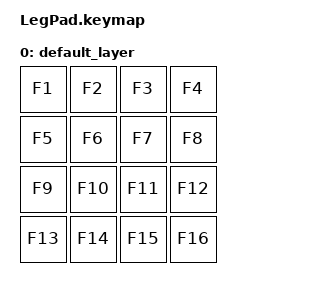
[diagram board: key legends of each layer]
#include <behaviors.dtsi>
#include <dt-bindings/zmk/keys.h>
#include <dt-bindings/zmk/bt.h>

/ {  
    keymap {
        compatible = "zmk,keymap";

        default_layer {
            bindings = <
                &kp F1     &kp F2     &kp F3    &kp F4
                &kp F5     &kp F6     &kp F7    &kp F8
                &kp F9     &kp F10     &kp F11    &kp F12
                &kp F13     &kp F14     &kp F15    &kp F16
            >;
        }; 
    };
    sensor-bindings {
        compatible = "zmk,sensor-binding";

        // Rotary Encoder 1
        sensor1 {
            rotate_cw = &kp VOL_UP;       // Rotate clockwise increases volume
            rotate_ccw = &kp VOL_DN;      // Rotate counterclockwise decreases volume
            press = &kp MUTE;             // Press to mute
        };

        // Rotary Encoder 2
        sensor2 {
            rotate_cw = &kp PGUP;         // Rotate clockwise scrolls page up
            rotate_ccw = &kp PGDN;        // Rotate counterclockwise scrolls page down
            press = &kp ENTER;            // Press to enter
        };
    };
};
